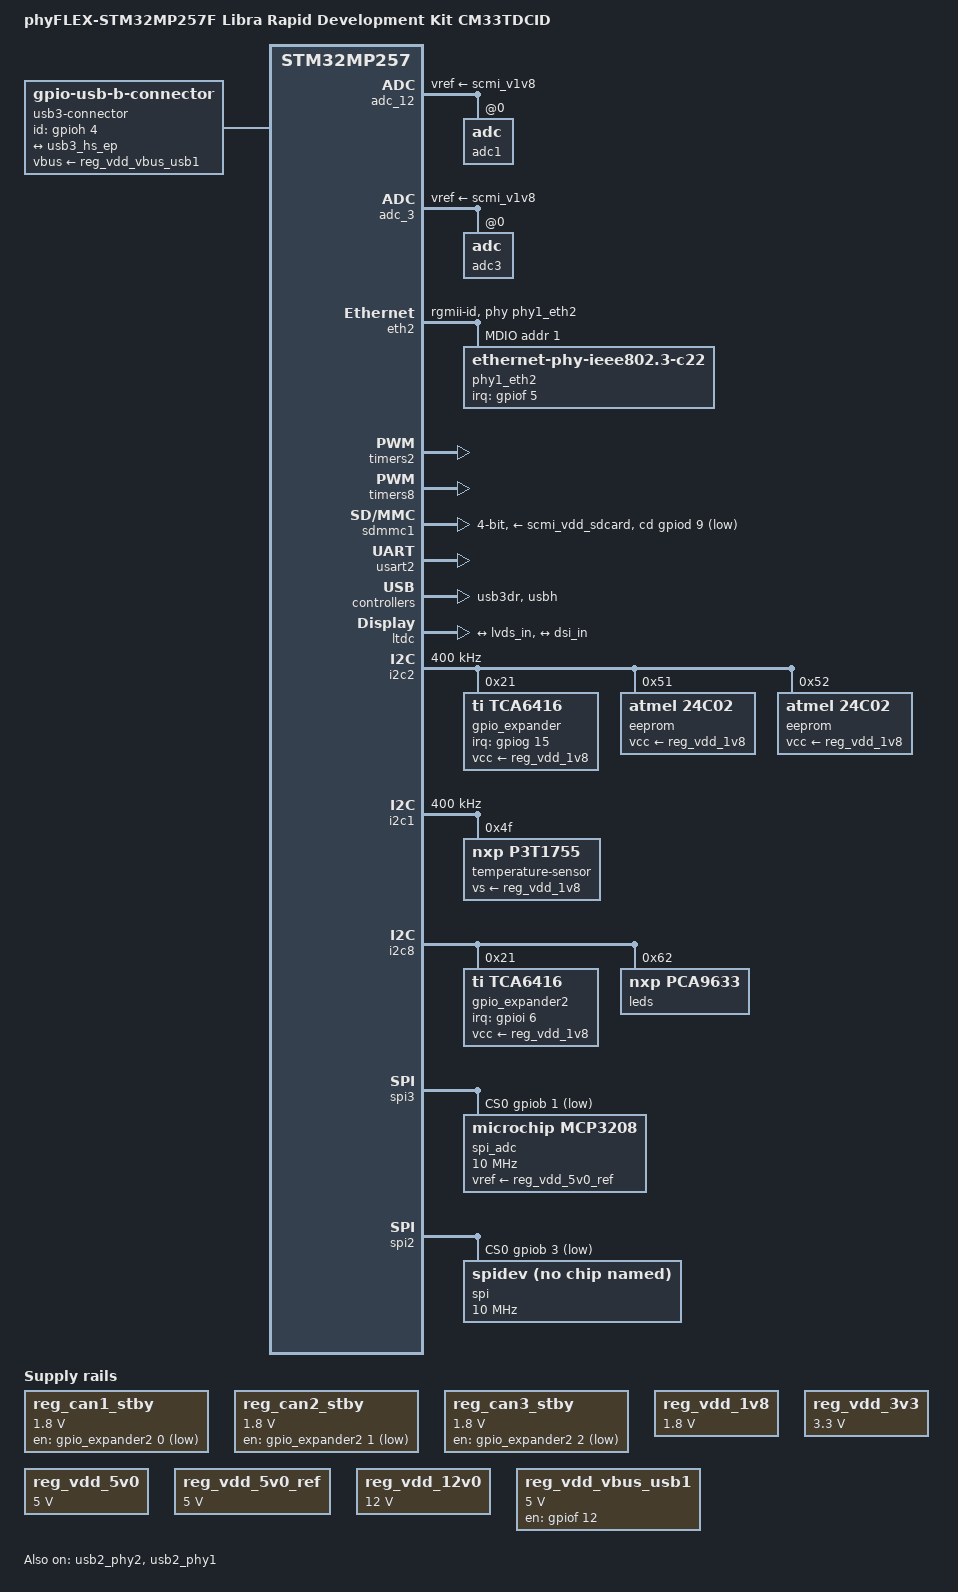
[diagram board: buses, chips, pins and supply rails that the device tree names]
// SPDX-License-Identifier: (GPL-2.0+ OR BSD-3-Clause)
/*
 * Copyright (C) 2026 PHYTEC Messtechnik GmbH
 * Authors: Christophe Parant <c.parant@phytec.fr>
 *          Nicolas Raimundo <n.raimundo@phytec.fr>
 */

/dts-v1/;

#include <dt-bindings/gpio/gpio.h>
#include "stm32mp257.dtsi"
#include "stm32mp25xf.dtsi"
#include "stm32mp25xx-phyflex-fpsc-g-som-m33td.dtsi"

/ {
	model = "phyFLEX-STM32MP257F Libra Rapid Development Kit CM33TDCID";
	compatible = "phytec,stm32mp257f-phyFLEX-libra-rdk-m33td",
	             "st,stm32mp257";

	aliases {
		serial0 = &usart2;
		serial1 = &uart5;
		serial2 = &usart6;
		mmc0 = &sdmmc1;
		mmc1 = &sdmmc2;
		ethernet0 = &eth1;
		ethernet1 = &eth2;
	};

	chosen {
		stdout-path = "serial0:115200n8";
		#address-cells = <2>;
		#size-cells = <2>;
		ranges;

		framebuffer {
			compatible = "simple-framebuffer";
			clocks = <&rcc CK_BUS_LTDC>, <&rcc CK_KER_LTDC>,
				 <&rcc CK_BUS_LVDS>, <&rcc CK_KER_LVDSPHY>;
			status = "disabled";
		};
	};

	backlight_lvds: backlight0 {
		compatible = "pwm-backlight";
		power-supply = <&reg_vdd_12v0>;
		brightness-levels = <0 8 16 32 64 128 255>;
		default-brightness-level = <8>;
		num-interpolated-steps = <2>;
		pwms = <&pwm_8 0 66667 0>;
		status = "disabled";
	};

	panel_lvds: panel-lvds0 {
		power-supply = <&reg_vdd_3v3>;
		backlight = <&backlight_lvds>;
		enable-gpios = <&gpio_expander2 9 GPIO_ACTIVE_HIGH>;
		status = "disabled";

		ports {
			#address-cells = <1>;
			#size-cells = <0>;
			port@0 {
				panel0_in: endpoint {
					remote-endpoint = <&lvds_out>;
				};
			};
		};
	};

	reg_can1_stby: regulator-can1-stby {
		compatible = "regulator-fixed";
		gpio = <&gpio_expander2 0 GPIO_ACTIVE_LOW>;
		regulator-max-microvolt = <1800000>;
		regulator-min-microvolt = <1800000>;
		regulator-name = "can1-stby";
		regulator-always-on;
	};

	reg_can2_stby: regulator-can2-stby {
		compatible = "regulator-fixed";
		gpio = <&gpio_expander2 1 GPIO_ACTIVE_LOW>;
		regulator-max-microvolt = <1800000>;
		regulator-min-microvolt = <1800000>;
		regulator-name = "can2-stby";
		regulator-always-on;
	};

	reg_can3_stby: regulator-can3-stby {
		compatible = "regulator-fixed";
		gpio = <&gpio_expander2 2 GPIO_ACTIVE_LOW>;
		regulator-max-microvolt = <1800000>;
		regulator-min-microvolt = <1800000>;
		regulator-name = "can3-stby";
		regulator-always-on;
	};

	reg_vdd_1v8: regulator-vdd-1v8 {
		compatible = "regulator-fixed";
		regulator-always-on;
		regulator-boot-on;
		regulator-min-microvolt = <1800000>;
		regulator-max-microvolt = <1800000>;
		regulator-name = "VDD_1V8";
	};

	reg_vdd_3v3: regulator-vdd-3v3 {
		compatible = "regulator-fixed";
		regulator-always-on;
		regulator-boot-on;
		regulator-min-microvolt = <3300000>;
		regulator-max-microvolt = <3300000>;
		regulator-name = "VDD_3V3";
	};

	reg_vdd_5v0: regulator-vdd-5v0 {
		compatible = "regulator-fixed";
		regulator-always-on;
		regulator-boot-on;
		regulator-max-microvolt = <5000000>;
		regulator-min-microvolt = <5000000>;
		regulator-name = "VDD_5V0";
	};

	reg_vdd_5v0_ref: regulator-vdd-5v0-ref {
		compatible = "regulator-fixed";
		regulator-always-on;
		regulator-boot-on;
		regulator-max-microvolt = <5000000>;
		regulator-min-microvolt = <5000000>;
		regulator-name = "VDD_5V0_REF";
	};

	reg_vdd_12v0: regulator-12v0 {
		compatible = "regulator-fixed";
		regulator-always-on;
		regulator-boot-on;
		regulator-max-microvolt = <12000000>;
		regulator-min-microvolt = <12000000>;
		regulator-name = "VDD_12V0";
	};

	reg_vdd_vbus_usb1: regulator-vdd-vbus-usb1 {
		compatible = "regulator-fixed";
		gpio = <&gpiof 12 GPIO_ACTIVE_HIGH>;
		enable-active-high;
		regulator-max-microvolt = <5000000>;
		regulator-min-microvolt = <5000000>;
		regulator-name = "VDD_VBUS_C";
	};

	usb3-connector {
		compatible = "gpio-usb-b-connector", "usb-b-connector";  /* USB C connector + HD3SS3220I */
		id-gpios = <&gpioh 4 GPIO_ACTIVE_HIGH>;
		vbus-supply = <&reg_vdd_vbus_usb1>;

		port {
			con_usb3_hs_ep: endpoint {
				remote-endpoint = <&usb3_hs_ep>;
			};
		};
	};
};

&adc_12 {
	pinctrl-names = "default", "sleep";
	pinctrl-0 = <&adc1_pins_mx>;
	pinctrl-1 = <&adc1_sleep_pins_mx>;

	vdda-supply = <&scmi_v1v8>;
	vref-supply = <&scmi_v1v8>;
	status = "okay";
	adc1: adc@0 {
		status = "okay";
		channel@2 { /* ADC1_INP2 */
			reg = <2>;
			st,min-sample-time-ns = <400>;
		};
		channel@4 { /* ADC1_INP4 */
			reg = <4>;
			st,min-sample-time-ns = <400>;
		};
	};
};

&adc_3 {
	pinctrl-names = "default", "sleep";
	pinctrl-0 = <&adc3_pins_mx>;
	pinctrl-1 = <&adc3_sleep_pins_mx>;

	vdda-supply = <&scmi_v1v8>;
	vref-supply = <&scmi_v1v8>;
	status = "okay";
	adc3: adc@0 {
	status = "okay";
		channel@2 { /* ADC3_INP2 */
			reg = <2>;
			st,min-sample-time-ns = <400>;
		};
		channel@4 { /* ADC3_INP4 */
			reg = <4>;
			st,min-sample-time-ns = <400>;
		};
	};
};

&m_can1 {
	pinctrl-names = "default", "sleep";
	pinctrl-0 = <&m_can1_pins_a>;
	pinctrl-1 = <&m_can1_sleep_pins_a>;
	status = "disabled";
};

&m_can2 {
	pinctrl-names = "default", "sleep";
	pinctrl-0 = <&m_can2_pins_a>;
	pinctrl-1 = <&m_can2_sleep_pins_a>;
	status = "disabled";
};

&m_can3 {
	pinctrl-names = "default", "sleep";
	pinctrl-0 = <&m_can3_pins_b>;
	pinctrl-1 = <&m_can3_sleep_pins_b>;
	status = "disabled";
};

&eth2 {
	status = "okay";
	pinctrl-0 = <&eth2_rgmii_pins_b>;
	pinctrl-1 = <&eth2_rgmii_sleep_pins_b>;
	pinctrl-names = "default", "sleep";
	phy-mode = "rgmii-id";
	max-speed = <1000>;
	phy-handle = <&phy1_eth2>;
	st,eth-clk-sel;
	mdio1 {
		#address-cells = <1>;
		#size-cells = <0>;
		compatible = "snps,dwmac-mdio";
		phy1_eth2: ethernet-phy@1 {
			compatible = "ethernet-phy-ieee802.3-c22";
			interrupt-parent = <&gpiof>;
			interrupts = <5 IRQ_TYPE_LEVEL_LOW>;
			ti,rx-internal-delay = <DP83867_RGMIIDCTL_1_50_NS>;
			ti,tx-internal-delay = <DP83867_RGMIIDCTL_2_00_NS>;
			ti,fifo-depth = <DP83867_PHYCR_FIFO_DEPTH_4_B_NIB>;
			ti,clk-output-sel = <DP83867_CLK_O_SEL_OFF>;
			enet-phy-lane-no-swap;
			reg = <0x1>;
		};
	};
};

&timers2 {
	status = "okay";
	/delete-property/dmas;
	/delete-property/dma-names;

	pwm_2: pwm {
		pinctrl-0 = <&tim2_pwm_pins_a>;
		pinctrl-1 = <&tim2_pwm_sleep_pins_a>;
		pinctrl-names = "default", "sleep";
		status = "okay";
	};
};

&timers8 {
	status = "okay";
	/delete-property/dmas;
	/delete-property/dma-names;

	pwm_8: pwm {
		pinctrl-0 = <&tim8_pwm_pins_a>;
		pinctrl-1 = <&tim8_pwm_sleep_pins_a>;
		pinctrl-names = "default", "sleep";
		status = "okay";
	};
};

&sdmmc1 {
	pinctrl-names = "default", "opendrain", "sleep";
	pinctrl-0 = <&sdmmc1_b4_pins_c>;
	pinctrl-1 = <&sdmmc1_b4_od_pins_c>;
	pinctrl-2 = <&sdmmc1_b4_sleep_pins_a>;
	cd-gpios = <&gpiod 9 (GPIO_ACTIVE_LOW | GPIO_PULL_UP)>;
	disable-wp;
	st,neg-edge;
	bus-width = <4>;
	vmmc-supply = <&scmi_vdd_sdcard>;
	vqmmc-supply = <&scmi_vddio1>;
	sd-uhs-sdr12;
	sd-uhs-sdr25;
	sd-uhs-sdr50;
	sd-uhs-ddr50;
	sd-uhs-sdr104;
	status = "okay";
};

&uart5 {
	pinctrl-names = "default", "idle", "sleep";
	pinctrl-0 = <&uart5_pins_a>;
	pinctrl-1 = <&uart5_idle_pins_a>;
	pinctrl-2 = <&uart5_sleep_pins_a>;
	/delete-property/dmas;
	/delete-property/dma-names;
	uart-has-rtscts;
	status = "disabled";
};

&usart6 {
	pinctrl-names = "default", "idle", "sleep";
	pinctrl-0 = <&usart6_pins_a>;
	pinctrl-1 = <&usart6_idle_pins_a>;
	pinctrl-2 = <&usart6_sleep_pins_a>;
	/delete-property/dmas;
	/delete-property/dma-names;
	uart-has-rtscts;
	status = "disabled";
};

&usart2 {
	pinctrl-names = "default", "idle", "sleep";
	pinctrl-0 = <&usart2_pins_a>;
	pinctrl-1 = <&usart2_idle_pins_a>;
	pinctrl-2 = <&usart2_sleep_pins_a>;
	/delete-property/dmas;
	/delete-property/dma-names;
	status = "okay";
};

&usb2_phy2 {
	vdd33-supply = <&scmi_vdd3v3_usb>;
	status = "okay";
};

&usb3dr {
	status = "okay";

	dwc3: usb@48300000 {
		maximum-speed = "high-speed";
		usb-role-switch;
		port {
			usb3_hs_ep: endpoint {
				remote-endpoint = <&con_usb3_hs_ep>;
			};
		};
	};
};

&ltdc {
	default-on;
	status = "okay";

	port {
		#address-cells = <1>;
		#size-cells = <0>;

		ltdc_ep0_out: endpoint@0 {
			reg = <0>;
			remote-endpoint = <&lvds_in>;
		};

		ltdc_ep1_out: endpoint@1 {
			reg = <1>;
			remote-endpoint = <&dsi_in>;
		};
	};
};

&lvds {
	default-on;
	vdd-supply =  <&scmi_vddcore>;
	vdda18-supply = <&scmi_v1v8>;
	status = "disabled";
	ports {
		#address-cells = <1>;
		#size-cells = <0>;

		port@0 {
			reg = <0>;
			lvds_in: endpoint {
				remote-endpoint = <&ltdc_ep0_out>;
			};
		};

		port@1 {
			reg = <1>;
			lvds_out: endpoint {
				remote-endpoint = <&panel0_in>;
			};
		};
	};
};

&dsi {
	vdd-supply =  <&scmi_vddcore>;
	vdda18-supply = <&scmi_v1v8>;
	status = "disabled";

	ports {
		#address-cells = <1>;
		#size-cells = <0>;

		port@0 {
			reg = <0>;
			dsi_in: endpoint {
				remote-endpoint = <&ltdc_ep1_out>;
			};
		};
	};
};

&i2c2 {
	pinctrl-names = "default", "sleep";
	pinctrl-0 = <&i2c2_pins_a>;
	pinctrl-1 = <&i2c2_sleep_pins_a>;
	clock-frequency = <400000>;
	/delete-property/dmas;
	/delete-property/dma-names;
	status = "okay";

	gpio_expander: gpio@21 {
		compatible = "ti,tca6416";
		#gpio-cells = <2>;
		gpio-controller;
		gpio-line-names = "VCONN_nFAULT", "CSI1_CTRL1", "X_CSI1_CTRL3",
				  "CSI1_CTRL4", "USB_C_nINT_AUDIO_AC", "CSI2_CTRL1",
				  "CSI2_CTRL3", "CSI2_CTRL4", "CLK_EN_AV",
				  "W_nDISABLE1", "W_nDISABLE2", "PCIE1_nWAKE",
				  "PCIE2_nWAKE", "UART1_nWAKE", "UART1_BT_RS_SEL",
				  "UART1_RS232_485_SEL";
		interrupt-parent = <&gpiog>;
		interrupts = <15 IRQ_TYPE_LEVEL_LOW>;
		reg = <0x21>;
		vcc-supply = <&reg_vdd_1v8>;
	};

	eeprom@51 {
		compatible = "atmel,24c02";
		vcc-supply = <&reg_vdd_1v8>;
		reg = <0x51>;
		pagesize = <16>;
	};

	eeprom@52 {
		compatible = "atmel,24c02";
		vcc-supply = <&reg_vdd_1v8>;
		reg = <0x52>;
		pagesize = <16>;
	};
};

&i2c1 {
	pinctrl-names = "default", "sleep";
	pinctrl-0 = <&i2c1_pins_a>;
	pinctrl-1 = <&i2c1_sleep_pins_a>;
	clock-frequency = <400000>;
	status = "okay";

	temperature-sensor@4f {
		compatible = "nxp,p3t1755";
		reg = <0x4f>;
		vs-supply = <&reg_vdd_1v8>;
	};
};


&i2c8 {
	gpio_expander2: gpio@21 {
		compatible = "ti,tca6416";
		#gpio-cells = <2>;
		gpio-controller;
		gpio-line-names = "CAN1_STBY", "CAN2_STBY", "CAN3_STBY",
				  "KEY_E_nALERT", "KEY_M_n_ALERT", "SDIO_nWAKE",
				  "SDIO_nRESET", "HDMI_EN", "RTC_nINT",
				  "LVDS1_BL_EN", "SFP_TX_FAULT", "SFP_TX_DISABLE",
				  "SFP_MOD_ABS", "SFP_RS0", "SFP_RX_LOSS",
				  "SFP_RS1";

		interrupt-parent = <&gpioi>;
		interrupts = <6 IRQ_TYPE_LEVEL_LOW>;
		reg = <0x21>;
		vcc-supply = <&reg_vdd_1v8>;
	};

	leds: leds@62 {
		compatible = "nxp,pca9633";
		#address-cells = <1>;
		#size-cells = <0>;

		reg = <0x62>;

		led-1@0 {
			label = "red";
			reg = <0>;
		};

		led-2@1 {
			label = "green";
			reg = <1>;
		};

		led-3@2 {
			label = "blue";
			reg = <2>;
		};
	};
};

&csi {
	ports {
		#address-cells = <1>;
		#size-cells = <0>;
		port@0 {
			reg = <0>;
		};

		port@1 {
			reg = <1>;
		};
	};
};

&i2c8_eeprom {
	status = "disabled";
};

&i2c8_rtc {
	status = "disabled";
};

&i2c8_tmp102 {
	status = "disabled";
};

&spi3 {
	pinctrl-names = "default", "sleep";
	pinctrl-0 = <&spi3_pins_a>;
	pinctrl-1 = <&spi3_sleep_pins_a>;
	cs-gpios = <&gpiob 1 GPIO_ACTIVE_LOW>;
	status = "okay";

	spi_adc: adc@0 {
		compatible = "microchip,mcp3208";
		spi-max-frequency = <10000000>;
		reg = <0>;
		#io-channel-cells = <1>;
		vref-supply = <&reg_vdd_5v0_ref>;
	};
};

&spi8 {
	pinctrl-names = "default", "sleep";
	pinctrl-0 = <&spi8_pins_a>;
	pinctrl-1 = <&spi8_sleep_pins_a>;
	cs-gpios = <&gpioz 6 GPIO_ACTIVE_LOW>;
	status = "disabled";

	tpm: tpm-tis@0 {
		status = "okay";
		compatible = "tcg,tpm_tis-spi";
		pinctrl-names = "default";
		reg = <0>;
		spi-max-frequency = <1000000>;
	};
};

&spi2 {
	pinctrl-names = "default", "sleep";
	pinctrl-0 = <&spi2_pins_a>;
	pinctrl-1 = <&spi2_sleep_pins_a>;
	cs-gpios = <&gpiob 3 GPIO_ACTIVE_LOW>;
	status = "okay";

	spi@0 {
		compatible = "linux,spidev";
		spi-max-frequency = <10000000>;
		reg = <0>;
	};
};

&usb2_phy1 {
	vdd33-supply = <&scmi_vdd3v3_usb>;
	status = "okay";
};

&usbh {
	status = "okay";

	usbh_ohci: usb@482e0000 {
		status = "disabled";
	};
};
